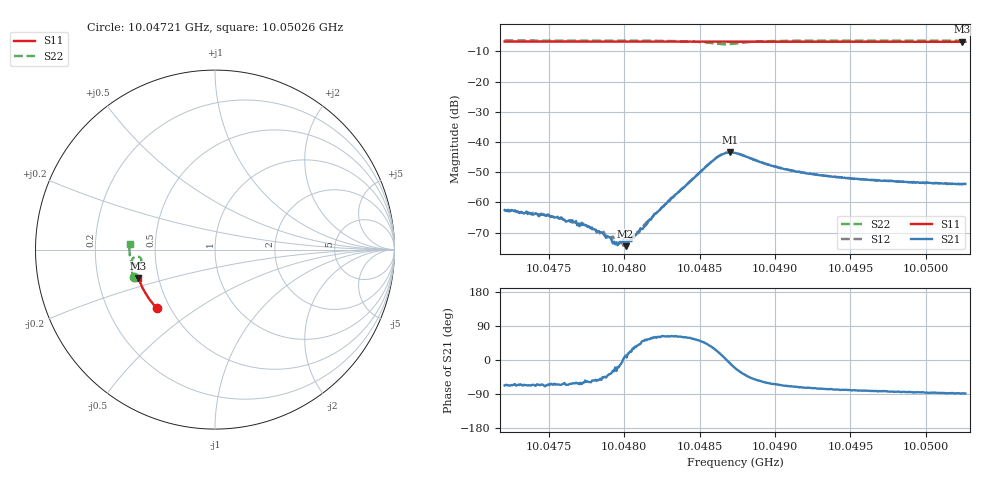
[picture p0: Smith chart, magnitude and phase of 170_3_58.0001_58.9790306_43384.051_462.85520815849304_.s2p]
#  HZ  S  RI  R  50.00
! Rohde & Schwarz Vector Network Analyzer
! Rohde-Schwarz,ZNB20-2Port,1311601062101988,3.16
! Created: UTC 3/21/2024, 12:57:54 AM
! freq[Hz]  re:S11  im:S11  re:S21  im:S21  re:S12  im:S12  re:S22  im:S22
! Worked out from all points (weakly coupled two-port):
!   401 points, 10.04721 GHz to 10.05026 GHz, reference 50 ohm
!   highest |S21| = -43.45 dB at 10.0487 GHz (marker M1); lowest = -74.5 dB at 10.04801 GHz (marker M2)
!   lowest |S11| = -6.8 dB at 10.05024 GHz (marker M3), VSWR 2.67, Z = 19.3 - j7.69 ohm
!   |S11| at or under -10 dB: nowhere
!   |S22| runs from -7.7 to -6.4 dB; largest |S21 - S12| = 0.00047
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1.0047208e10  -0.3231 -0.3279  0.00029 -0.00069  0.000345 -0.000654  -0.454 -0.1527
1.0047505e10  -0.3365 -0.3133  0.000237 -0.000546  0.00029 -0.00053  -0.4596 -0.1325
1.0047666e10  -0.3434 -0.3052  0.000227 -0.000415  0.000232 -0.00041  -0.4623 -0.1212
1.0047719e10  -0.3456 -0.3025  0.000187 -0.000377  0.000255 -0.000384  -0.4631 -0.1174
1.0047841e10  -0.3507 -0.2961  0.000205 -0.00024  0.000207 -0.000211  -0.4647 -0.1081
1.0047918e10  -0.3538 -0.292  0.000193 -0.000129  0.000213 -0.000126  -0.4653 -0.1023
1.0047941e10  -0.3547 -0.2909  0.00019 -6.75e-05  0.000219 -7.55e-05  -0.4656 -0.1004
1.0047964e10  -0.3558 -0.2896  0.000193 -6.81e-05  0.000204 -1.18e-05  -0.4659 -0.0984
1.004801e10  -0.3576 -0.2872  0.000184 3.81e-05  0.000205 4.39e-05  -0.4662 -0.0947
1.0048048e10  -0.3591 -0.2852  0.000211 8.4e-05  0.000221 0.000125  -0.4665 -0.0915
1.0048109e10  -0.3614 -0.2819  0.000273 0.00025  0.000246 0.000279  -0.4667 -0.0862
1.0048147e10  -0.363 -0.28  0.000264 0.000335  0.000254 0.000397  -0.4668 -0.0827
1.0048231e10  -0.3662 -0.2755  0.000354 0.000642  0.000321 0.000656  -0.4663 -0.0748
1.0048598e10  -0.3793 -0.2551  0.00446 0.00253  0.00435 0.00283  -0.4268 -0.0388
1.0048659e10  -0.3812 -0.2518  0.0063 0.000898  0.00628 0.00133  -0.4116 -0.0534
1.0048704e10  -0.3827 -0.2496  0.00662 -0.00117  0.00672 -0.000755  -0.4119 -0.0707
1.0048735e10  -0.3837 -0.2478  0.00613 -0.00239  0.00633 -0.00198  -0.4185 -0.0799
1.004901e10  -0.3934 -0.2324  0.00168 -0.00348  0.00186 -0.00342  -0.4652 -0.0661
1.0049247e10  -0.4008 -0.2185  0.000804 -0.00282  0.000949 -0.00279  -0.4731 -0.0429
1.0049758e10  -0.4152 -0.1881  0.000268 -0.00224  0.000406 -0.00224  -0.4767 -0.00294
1.005024e10  -0.4264 -0.1583  6.35e-05 -0.002  0.000171 -0.002  -0.4758 0.0309
1.0050262e10  -0.427 -0.157  5.46e-05 -0.00202  0.000176 -0.00202  -0.4757 0.0324
